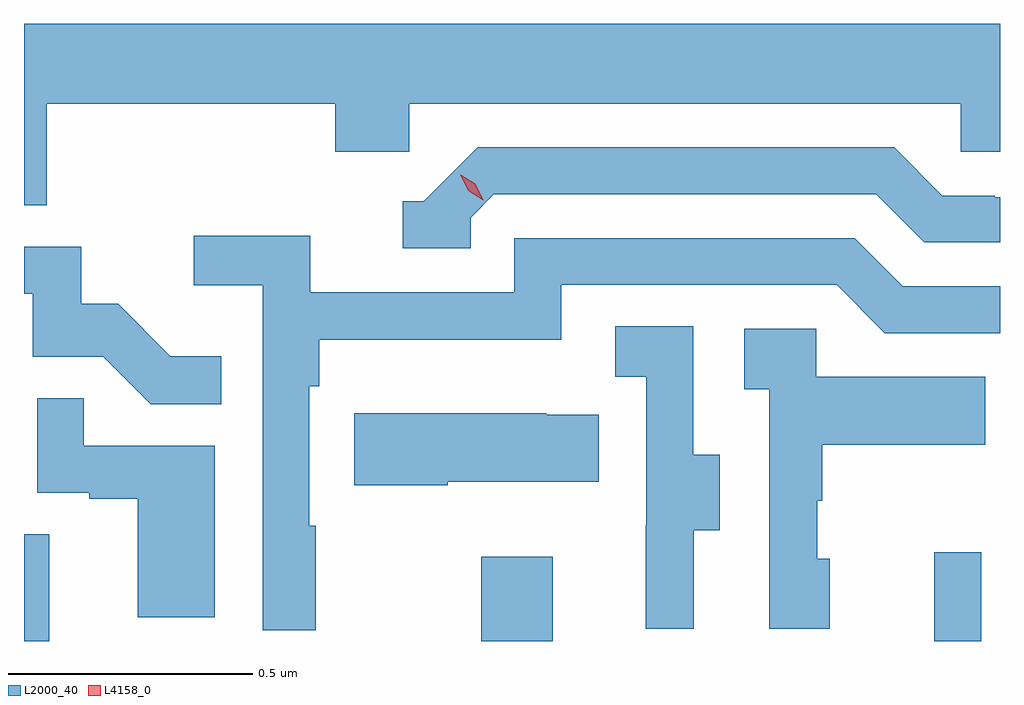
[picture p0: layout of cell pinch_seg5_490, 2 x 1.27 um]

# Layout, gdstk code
import gdstk
lib = gdstk.Library(unit=1e-6, precision=1e-09)
def R(c, l, rs):  # rectangles x0, y0, x1, y1
    for r in rs: c.add(gdstk.rectangle(r[:2], r[2:], *l))
def P(c, l, *ps):  # polygons
    for p in ps: c.add(gdstk.Polygon(p, *l))
L2000_40 = (2000, 40)
L4158_0 = (4158, 0)

pinch_seg5_490 = lib.new_cell('pinch_seg5_490')
R(pinch_seg5_490, L2000_40, [(912.807,843.671,912.859,843.89), (913.744,843.671,913.891,843.844), (914.672,843.671,914.769,843.853)])
P(pinch_seg5_490, L2000_40, [(912.854,844.772),(913.445,844.772),(913.445,844.674),(913.596,844.674),(913.596,844.772),(914.727,844.772),(914.727,844.674),(914.807,844.674),(914.807,844.936),(912.807,844.936),(912.807,844.564),(912.854,844.564)],
  [(913.722,844.539),(913.77,844.587),(914.553,844.587),(914.652,844.488),(914.807,844.488),(914.807,844.581),(914.796,844.581),(914.796,844.584),(914.689,844.584),(914.59,844.683),(913.737,844.683),(913.626,844.572),(913.583,844.572),(913.583,844.476),(913.722,844.476)],
  [(913.405,843.908),(913.392,843.908),(913.392,844.193),(913.412,844.193),(913.412,844.289),(913.908,844.289),(913.908,844.401),(914.472,844.401),(914.571,844.302),(914.807,844.302),(914.807,844.398),(914.608,844.398),(914.509,844.497),(913.812,844.497),(913.812,844.386),(913.394,844.386),(913.394,844.502),(913.155,844.502),(913.155,844.4),(913.296,844.4),(913.296,843.693),(913.405,843.693)],
  [(913.211,844.255),(913.107,844.255),(913,844.362),(912.924,844.362),(912.924,844.479),(912.807,844.479),(912.807,844.383),(912.825,844.383),(912.825,844.254),(912.969,844.254),(913.067,844.156),(913.211,844.156)],
  [(914.179,843.898),(914.233,843.898),(914.233,844.053),(914.178,844.053),(914.178,844.316),(914.019,844.316),(914.019,844.213),(914.082,844.213),(914.082,843.909),(914.081,843.909),(914.081,843.696),(914.179,843.696)],
  [(914.458,843.84),(914.433,843.84),(914.433,843.959),(914.443,843.959),(914.443,844.073),(914.777,844.073),(914.777,844.213),(914.43,844.213),(914.43,844.311),(914.283,844.311),(914.283,844.187),(914.334,844.187),(914.334,843.696),(914.458,843.696)],
  [(913.198,844.071),(912.929,844.071),(912.929,844.169),(912.834,844.169),(912.834,843.975),(912.941,843.975),(912.941,843.963),(913.04,843.963),(913.04,843.72),(913.198,843.72)],
  [(913.675,843.998),(913.985,843.998),(913.985,844.135),(913.877,844.135),(913.877,844.138),(913.484,844.138),(913.484,843.991),(913.675,843.991)])
P(pinch_seg5_490, L4158_0, [(913.748,844.575),(913.717,844.594),(913.701,844.627),(913.701,844.627),(913.702,844.627),(913.732,844.608),(913.748,844.575),(913.748,844.575)])

lib.write_gds('pinch_seg5_490.gds')
